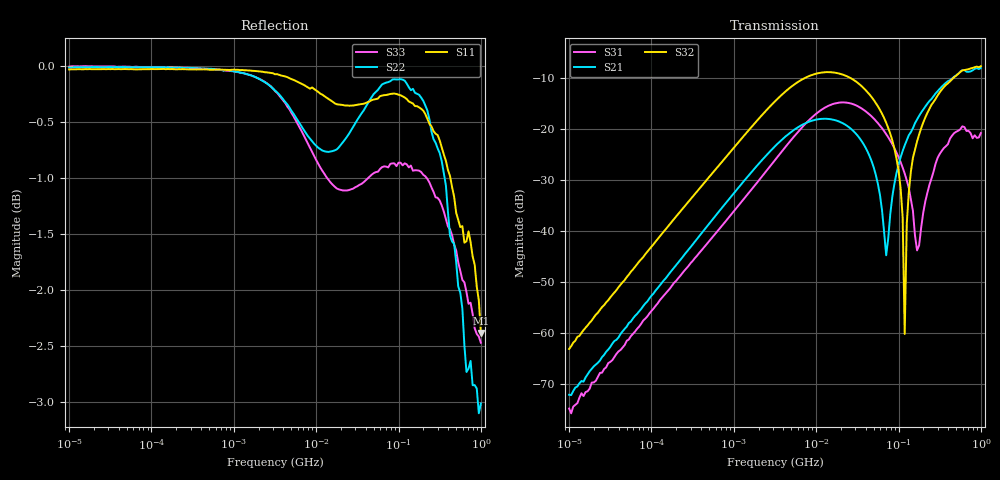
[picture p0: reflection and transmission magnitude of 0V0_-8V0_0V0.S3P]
!Keysight Technologies,E5080A,MY55100144,A.11.70.03
!Date: Monday, November 13, 2017 17:22:33
!Correction: S11(Full 3 Port(1,2,3))
!S12(Full 3 Port(1,2,3))
!S13(Full 3 Port(1,2,3))
!S21(Full 3 Port(1,2,3))
!S22(Full 3 Port(1,2,3))
!S23(Full 3 Port(1,2,3))
!S31(Full 3 Port(1,2,3))
!S32(Full 3 Port(1,2,3))
!S33(Full 3 Port(1,2,3))
!S3P File: Measurements: <S11,S12,S13>,
!<S21,S22,S23>,
!<S31,S32,S33>:Log Frequency Sweep
# Hz S  RI  R 50
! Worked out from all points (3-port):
!   201 points, 10 kHz to 1 GHz, reference 50 ohm
!   strongest paths, dB at 10 kHz, 177.8 kHz, 3.162 MHz, 56.23 MHz, 1 GHz:
!     S32: -63.1, -38.1, -14.5, -15.5, -7.7
!     S21: -72.1, -47.6, -23.4, -30.8, -8.0
!     S31: -74.8, -50.7, -26.1, -18.8, -20.8
!   lowest |S11| = -2.4 dB at 1 GHz (marker M1), VSWR 7.35, Z = 367 + j12.6 ohm
!   |S11| at or under -10 dB: nowhere
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10000  0.9968 -0.00136  -1.27e-06 0.000233  -9.96e-07 0.000167
       -1.73e-05 0.000248  0.9987 -0.00338  7.79e-07 0.000715
       2.88e-06 0.000182  1.98e-05 0.000699  0.9997 -0.00244
3162278  0.9005 -0.4158  0.0355 0.0579  0.0121 0.0483
         0.0354 0.0579  0.6709 -0.7082  0.0991 0.1589
         0.0122 0.0482  0.0992 0.1589  0.9349 -0.2763
5.956621e7  -0.922 -0.3007  0.0125 -0.0185  0.0534 -0.094
            0.0125 -0.0186  -0.9785 -0.0274  0.0545 -0.1444
            0.0534 -0.094  0.0544 -0.1443  -0.6878 -0.5802
7.079458e7  -0.9512 -0.1949  0.00583 0.000286  0.0324 -0.0832
            0.00579 0.000306  -0.9808 0.0716  0.0264 -0.1123
            0.0324 -0.0833  0.0263 -0.1123  -0.7729 -0.4651
1.059254e8  -0.9696 0.0433  0.0107 0.0517  0.00412 -0.0474
            0.0108 0.0518  -0.9367 0.3109  -0.00145 -0.0266
            0.00416 -0.0474  -0.00147 -0.0266  -0.8866 -0.1848
1.188502e8  -0.9617 0.1136  0.0183 0.0667  0.00117 -0.0367
            0.0184 0.0667  -0.9072 0.3847  0.000238 -0.000953
            0.00112 -0.0366  0.000245 -0.00095  -0.8992 -0.1035
1.258925e8  -0.9552 0.1496  0.0233 0.0743  0.000229 -0.0313
            0.0234 0.0743  -0.887 0.422  0.003 0.0114
            0.00022 -0.0314  0.003 0.0114  -0.9021 -0.0609
1.678804e8  -0.9017 0.3291  0.0597 0.1088  0.00444 -0.00477
            0.0597 0.1088  -0.7631 0.6022  0.0336 0.0679
            0.00446 -0.0047  0.0336 0.0679  -0.887 0.1441
5.308844e8  0.00559 0.854  0.3255 -0.1258  0.0708 -0.0655
            0.3255 -0.126  0.5022 0.6195  0.3334 -0.1001
            0.0707 -0.0655  0.3333 -0.1001  -0.1354 0.8061
1e9  0.7604 0.00725  -0.0932 -0.3866  -0.0564 -0.072
     -0.0936 -0.3866  0.5909 -0.3885  -0.0449 -0.4113
     -0.0565 -0.072  -0.0446 -0.4114  0.6861 0.3095
